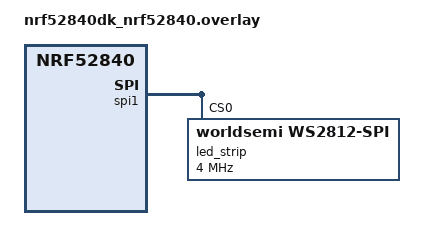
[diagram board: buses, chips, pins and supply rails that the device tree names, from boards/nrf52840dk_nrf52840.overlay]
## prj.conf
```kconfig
# enable GPIO
CONFIG_GPIO=y

# enable ADC
CONFIG_ADC=y

CONFIG_SPI=y

CONFIG_LED_STRIP=y
CONFIG_WS2812_STRIP=y
CONFIG_WS2812_STRIP_SPI=y

#enable Bluetooth
CONFIG_BT=y
CONFIG_BT_PERIPHERAL=y
CONFIG_BT_DEVICE_NAME="LED-HAT"
# Batter service
CONFIG_BT_BAS=y
# Device Information Service
CONFIG_BT_DIS=y
CONFIG_BT_DIS_PNP=n
CONFIG_BT_DIS_MODEL="LED-Hat"
CONFIG_BT_DIS_MANUF="Fabian Pflug"
CONFIG_BT_DIS_SERIAL_NUMBER=n
CONFIG_BT_DIS_HW_REV=y
CONFIG_BT_DIS_SW_REV=y
CONFIG_BT_DIS_SW_REV_STR="v0.1"

# logging
CONFIG_LOG=y
CONFIG_APP_LOG_LEVEL_DBG=y
```

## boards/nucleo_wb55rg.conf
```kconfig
CONFIG_BT_DIS_HW_REV_STR="v0.1 - Devboard"
```

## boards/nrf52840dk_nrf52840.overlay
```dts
#include <zephyr/dt-bindings/led/led.h>

&spi1 { /* MOSI on P0.30 */
	compatible = "nordic,nrf-spim";
	status = "okay";
	led_strip: ws2812@0 {
		compatible = "worldsemi,ws2812-spi";

		/* SPI */
		reg = <0>; /* ignored, but necessary for SPI bindings */
		spi-max-frequency = <4000000>;

		/* WS2812 */
		chain-length = <95>;
		color-mapping = <LED_COLOR_ID_GREEN
				 LED_COLOR_ID_RED
				 LED_COLOR_ID_BLUE>;
		spi-one-frame = <0x70>;
		spi-zero-frame = <0x40>;
	};
};


/ {
	aliases {
		led-strip = &led_strip;
	};
};
```

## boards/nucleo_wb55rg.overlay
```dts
#include <zephyr/dt-bindings/led/led.h>

&spi1 { /* MOSI on D11@arduino header */
	led_strip: ws2812@0 {
		compatible = "worldsemi,ws2812-spi";

		/* SPI */
		reg = <0>; /* ignored, but necessary for SPI bindings */
		spi-max-frequency = <6000000>;

		/* WS2812 */
		chain-length = <6>;
		color-mapping = <LED_COLOR_ID_GREEN
				 LED_COLOR_ID_RED
				 LED_COLOR_ID_BLUE>;
		spi-one-frame = <0x78>;
		spi-zero-frame = <0x60>;
	};
};

&pll {
	div-m = <2>;
	mul-n = <9>;
	div-p = <2>;
	div-q = <2>;
	div-r = <3>;
	clocks = <&clk_hse>;
	status = "okay";
};

&rcc {
	clocks = <&pll>;
	clock-frequency = <DT_FREQ_M(48)>;
	cpu1-prescaler = <1>;
	cpu2-prescaler = <2>;
	ahb4-prescaler = <1>;
	apb1-prescaler = <4>;
	apb2-prescaler = <2>;
};


/ {
	aliases {
		led-strip = &led_strip;
	};
};
```

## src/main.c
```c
#include <errno.h>
#include <stddef.h>

#include <zephyr/device.h>
#include <zephyr/drivers/led_strip.h>
#include <zephyr/kernel.h>
#include <zephyr/random/random.h>
#include <zephyr/sys/byteorder.h>
#include <zephyr/types.h>

#include <zephyr/bluetooth/bluetooth.h>
#include <zephyr/bluetooth/hci.h>
#include <zephyr/bluetooth/conn.h>
#include <zephyr/bluetooth/uuid.h>
#include <zephyr/bluetooth/gatt.h>

#include "animations.h"

#include <zephyr/logging/log.h>
LOG_MODULE_REGISTER(main, CONFIG_APP_LOG_LEVEL);

animation animations[] = {
	american_police, blaulicht,        bauhelm,        color_fill,
	chasing_pixel,   color_in_rainbow, animations_off,
};

/* LED Service Variables */
#define BT_UUID_LED_SERVICE_VAL                                                                    \
	BT_UUID_128_ENCODE(0x0863b1c3, 0x7722, 0x4fcc, 0xaf75, 0xd5f6f3100000)

static struct bt_uuid_128 led_uuid = BT_UUID_INIT_128(BT_UUID_LED_SERVICE_VAL);

static struct bt_uuid_128 led_brightness_uuid =
	BT_UUID_INIT_128(BT_UUID_128_ENCODE(0x0863b1c3, 0x7722, 0x4fcc, 0xaf75, 0xd5f6f3100001));

static struct bt_uuid_128 led_animation_uuid =
	BT_UUID_INIT_128(BT_UUID_128_ENCODE(0x0863b1c3, 0x7722, 0x4fcc, 0xaf75, 0xd5f6f3100002));

static struct bt_uuid_128 led_speed_uuid =
	BT_UUID_INIT_128(BT_UUID_128_ENCODE(0x0863b1c3, 0x7722, 0x4fcc, 0xaf75, 0xd5f6f3100003));

struct bluetooth_value {
	int min;
	int max;
	int value;
};

static struct bluetooth_value bt_brightness = {
	.min = SUPER_BRIGHT,
	.max = SUPER_DIMM,
	.value = NORMAL,
};
static struct bluetooth_value bt_animation = {
	.min = 0,
	.max = ARRAY_SIZE(animations) - 1,
	.value = 0,
};
static struct bluetooth_value bt_speed = {
	.min = -9,
	.max = 10,
	.value = 0,
};

static ssize_t read_bt_value(struct bt_conn *conn, const struct bt_gatt_attr *attr, void *buf,
			     uint16_t len, uint16_t offset)
{
	const struct bluetooth_value *value = attr->user_data;
	return bt_gatt_attr_read(conn, attr, buf, len, offset, &(value->value), sizeof(int));
}

static ssize_t write_bt_value(struct bt_conn *conn, const struct bt_gatt_attr *attr,
			      const void *buf, uint16_t len, uint16_t offset, uint8_t flags)
{
	struct bluetooth_value *value = attr->user_data;

	if (offset + len > sizeof(int)) {
		return BT_GATT_ERR(BT_ATT_ERR_INVALID_OFFSET);
	}

	int old = value->value;

	memcpy(&(value->value) + offset, buf, len);

	if (value->value < value->min || value->value > value->max) {
		value->value = old;
		return BT_GATT_ERR(BT_ATT_ERR_OUT_OF_RANGE);
	}
	return len;
}

static void led_ccc_cfg_changed(const struct bt_gatt_attr *attr, uint16_t value)
{
	;
}

#define BLE_GATT_CPF_FORMAT_SINT32 0x10

static const struct bt_gatt_cpf value_cpf = {
	.format = BLE_GATT_CPF_FORMAT_SINT32,
};

/* LED Service Declaration */
BT_GATT_SERVICE_DEFINE(
	led_service, BT_GATT_PRIMARY_SERVICE(&led_uuid),
	BT_GATT_CHARACTERISTIC(&led_brightness_uuid.uuid,
			       BT_GATT_CHRC_READ | BT_GATT_CHRC_WRITE | BT_GATT_CHRC_INDICATE,
			       BT_GATT_PERM_READ | BT_GATT_PERM_WRITE, read_bt_value,
			       write_bt_value, &bt_brightness),
	BT_GATT_CUD("Brightness", BT_GATT_PERM_READ), BT_GATT_CPF(&value_cpf),
	BT_GATT_CCC(led_ccc_cfg_changed, BT_GATT_PERM_READ),
	BT_GATT_CHARACTERISTIC(&led_animation_uuid.uuid,
			       BT_GATT_CHRC_READ | BT_GATT_CHRC_WRITE | BT_GATT_CHRC_INDICATE,
			       BT_GATT_PERM_READ | BT_GATT_PERM_WRITE, read_bt_value,
			       write_bt_value, &bt_animation),
	BT_GATT_CUD("Animation", BT_GATT_PERM_READ), BT_GATT_CPF(&value_cpf),
	BT_GATT_CCC(led_ccc_cfg_changed, BT_GATT_PERM_READ),
	BT_GATT_CHARACTERISTIC(&led_speed_uuid.uuid,
			       BT_GATT_CHRC_READ | BT_GATT_CHRC_WRITE | BT_GATT_CHRC_INDICATE,
			       BT_GATT_PERM_READ | BT_GATT_PERM_WRITE, read_bt_value,
			       write_bt_value, &bt_speed),
	BT_GATT_CUD("Speed", BT_GATT_PERM_READ), BT_GATT_CPF(&value_cpf),
	BT_GATT_CCC(led_ccc_cfg_changed, BT_GATT_PERM_READ), );

static const struct bt_data ad[] = {
	BT_DATA_BYTES(BT_DATA_FLAGS, (BT_LE_AD_GENERAL | BT_LE_AD_NO_BREDR)),
	BT_DATA_BYTES(BT_DATA_UUID16_ALL, BT_UUID_16_ENCODE(BT_UUID_DIS_VAL),
		      BT_UUID_16_ENCODE(BT_UUID_BAS_VAL)),
	BT_DATA_BYTES(BT_DATA_UUID128_ALL, BT_UUID_LED_SERVICE_VAL),
};

static void connected(struct bt_conn *conn, uint8_t err)
{
	if (err) {
		LOG_ERR("Connection failed (err 0x%02x)", err);
	} else {
		LOG_INF("Connected");
	}
}

static void disconnected(struct bt_conn *conn, uint8_t reason)
{
	LOG_INF("Disconnected (reason 0x%02x)", reason);
}

BT_CONN_CB_DEFINE(conn_callbacks) = {
	.connected = connected,
	.disconnected = disconnected,
};

static const struct device *const strip = DEVICE_DT_GET(DT_ALIAS(led_strip));

#define STRIP_NUM_PIXELS DT_PROP(DT_ALIAS(led_strip), chain_length)

int main(void)
{
	int random_value;
	sys_csrand_get(&random_value, sizeof(random_value));
	bt_animation.value = random_value % ARRAY_SIZE(animations);

	struct led_rgb pixels[STRIP_NUM_PIXELS] = {0};

	if (!device_is_ready(strip)) {
		LOG_ERR("LED strip device %s is not ready", strip->name);
		return -ENODEV;
	}

	int err;

	err = bt_enable(NULL);
	if (err) {
		LOG_ERR("Bluetooth init failed (err %d)", err);
		return 0;
	}

	LOG_INF("Bluetooth initialized");

	err = bt_le_adv_start(BT_LE_ADV_CONN_NAME, ad, ARRAY_SIZE(ad), NULL, 0);
	if (err) {
		LOG_ERR("Advertising failed to start (err %d)", err);
		return 0;
	}

	LOG_INF("Advertising successfully started");

	LOG_INF("Displaying pattern on strip");
	while (1) {
		int delay = animations[bt_animation.value](pixels, STRIP_NUM_PIXELS,
							   bt_brightness.value);
		int rc = led_strip_update_rgb(strip, pixels, STRIP_NUM_PIXELS);
		if (rc) {
			LOG_ERR("couldn't update strip: %d", rc);
		}

		k_sleep(K_MSEC(delay * (bt_speed.value + 10) / 10));
	}
	return 0;
}
```

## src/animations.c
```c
#include "animations.h"

#include <string.h>

int animations_off(struct led_rgb *pixels, int size, brightness_level brightness)
{
	return 1000;
}

#define RGB(_r, _g, _b)                                                                            \
	{                                                                                          \
		.r = (_r), .g = (_g), .b = (_b)                                                    \
	}

static const struct led_rgb colors[] = {
	RGB(0xff, 0x00, 0x00),
	RGB(0x00, 0x7f, 0x00),
	RGB(0x00, 0x00, 0xff),
};

int american_police(struct led_rgb pixels[], int size, brightness_level brightness)
{
	static size_t counter = 0;

	memset(pixels, 0x00, sizeof(struct led_rgb) * size);

	if (counter == 0) {
		for (int i = 0; i < size / 2; i++) {
			pixels[(i + 32) % size].r = 0xff >> brightness;
		}
		counter = 1;
	} else {
		for (int i = size / 2; i < size; i++) {
			pixels[(i + 32) % size].b = 0xff >> brightness;
		}
		counter = 0;
	}

	return 500;
}

int siren(struct led_rgb pixels[], int size, brightness_level brightness, struct led_rgb color)
{
	static size_t counter = 0;

	memset(pixels, 0x00, sizeof(struct led_rgb) * size);

	int number = size / 5;

	for (int i = 0; i < number; i++) {
		pixels[(i + counter) % size].r = color.r >> brightness;
		pixels[(i + counter) % size].g = color.g >> brightness;
		pixels[(i + counter) % size].b = color.b >> brightness;
	}
	counter = (counter + 1) % size;

	return 2;
}

int blaulicht(struct led_rgb pixels[], int size, brightness_level brightness)
{
	static struct led_rgb blau = RGB(0x00, 0x00, 0xff);
	return siren(pixels, size, brightness, blau);
}

int bauhelm(struct led_rgb pixels[], int size, brightness_level brightness)
{
	static struct led_rgb gelb = RGB(0xff, 0x7F, 0x00);
	return siren(pixels, size, brightness, gelb);
}

int color_fill(struct led_rgb *pixels, int size, brightness_level brightness)
{
	static size_t cursor = 0;
	static size_t color = 0;

	cursor++;
	if (cursor >= size) {
		cursor = 0;
		color++;
		if (color == ARRAY_SIZE(colors)) {
			color = 0;
		}
	}

	pixels[cursor].r = colors[color].r >> brightness;
	pixels[cursor].g = colors[color].g >> brightness;
	pixels[cursor].b = colors[color].b >> brightness;
	return 20;
}

int chasing_pixel(struct led_rgb *pixels, int size, brightness_level brightness)
{
	memset(pixels, 0x00, sizeof(struct led_rgb) * size);
	return color_fill(pixels, size, brightness);
}

int color_in_rainbow(struct led_rgb *pixels, int size, brightness_level brightness)
{
	static size_t offset = 0;
	offset = (offset + 1) % size;
	memset(pixels, 0x00, sizeof(struct led_rgb) * size);
	int section_length = (size + 2) / 3;

	for (int i = 0; i < section_length; i++) {
		// red to green
		pixels[(i + offset) % size].r =
			(0xff * (section_length - i) / section_length) >> brightness;
		pixels[(i + offset) % size].g = (0x7f * i / section_length) >> brightness;
		// green to blue
		pixels[(i + section_length + offset) % size].g =
			(0x7f * (section_length - i) / section_length) >> brightness;
		pixels[(i + section_length + offset) % size].b =
			(0xff * i / section_length) >> brightness;
		// blue to red
		pixels[(i + section_length * 2 + offset) % size].b =
			(0xff * (section_length - i) / section_length) >> brightness;
		pixels[(i + section_length * 2 + offset) % size].r =
			(0xff * i / section_length) >> brightness;
	}
	return 200;
}
```

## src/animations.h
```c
#include <zephyr/drivers/led_strip.h>

typedef enum {
	SUPER_DIMM = 5,
	DIMM = 4,
	NORMAL = 3,
	BRIGHT = 2,
	BRIGHTER = 1,
	SUPER_BRIGHT = 0,
} brightness_level;

typedef int (*animation)(struct led_rgb *pixels, int size, brightness_level brightness);

int animations_off(struct led_rgb *pixels, int size, brightness_level brightness);
int american_police(struct led_rgb *pixels, int size, brightness_level brightness);
int blaulicht(struct led_rgb pixels[], int size, brightness_level brightness);
int bauhelm(struct led_rgb pixels[], int size, brightness_level brightness);
int color_fill(struct led_rgb *pixels, int size, brightness_level brightness);
int chasing_pixel(struct led_rgb *pixels, int size, brightness_level brightness);
int color_in_rainbow(struct led_rgb *pixels, int size, brightness_level brightness);
```
